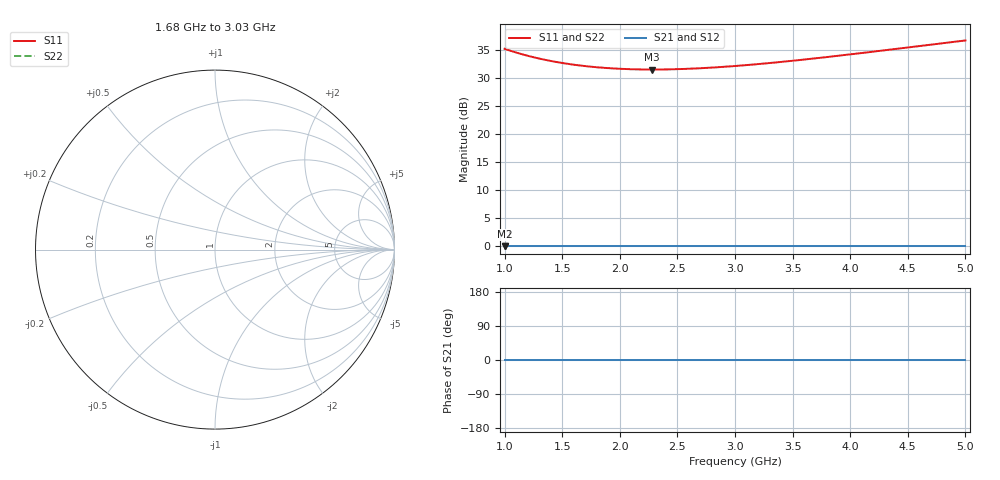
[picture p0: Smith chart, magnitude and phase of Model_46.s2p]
# GHZ S RI R 50
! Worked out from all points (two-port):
!   401 points, 1 GHz to 5 GHz, reference 50 ohm
!   highest |S21| = 0.00 dB at 1 GHz (marker M1); lowest = 0.0 dB at 1 GHz (marker M2)
!   |S21| within 3 dB of the highest: start of sweep to end of sweep
!   lowest |S11| = 31.5 dB at 2.28 GHz (marker M3)
!   |S11| at or under -10 dB: nowhere
!   |S22| runs from 31.5 to 36.6 dB; largest |S21 - S12| = 0
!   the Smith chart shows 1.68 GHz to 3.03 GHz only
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1  57.22 0  1 0  1 0  57.22 0
1.15  51.2 0  1 0  1 0  51.2 0
1.22  49 0  1 0  1 0  49 0
1.3  46.84 0  1 0  1 0  46.84 0
1.38  45 0  1 0  1 0  45 0
1.47  43.28 0  1 0  1 0  43.28 0
1.57  41.7 0  1 0  1 0  41.7 0
1.67  40.44 0  1 0  1 0  40.44 0
1.81  39.11 0  1 0  1 0  39.11 0
1.96  38.16 0  1 0  1 0  38.16 0
2.12  37.59 0  1 0  1 0  37.59 0
2.28  37.4 0  1 0  1 0  37.4 0
2.34  37.42 0  1 0  1 0  37.42 0
2.5  37.69 0  1 0  1 0  37.69 0
2.66  38.23 0  1 0  1 0  38.23 0
3  40.2 0  1 0  1 0  40.2 0
3.33  43.01 0  1 0  1 0  43.01 0
3.67  46.72 0  1 0  1 0  46.72 0
4  51.03 0  1 0  1 0  51.03 0
4.34  56.14 0  1 0  1 0  56.14 0
4.63  61.02 0  1 0  1 0  61.02 0
5  67.89 0  1 0  1 0  67.89 0
